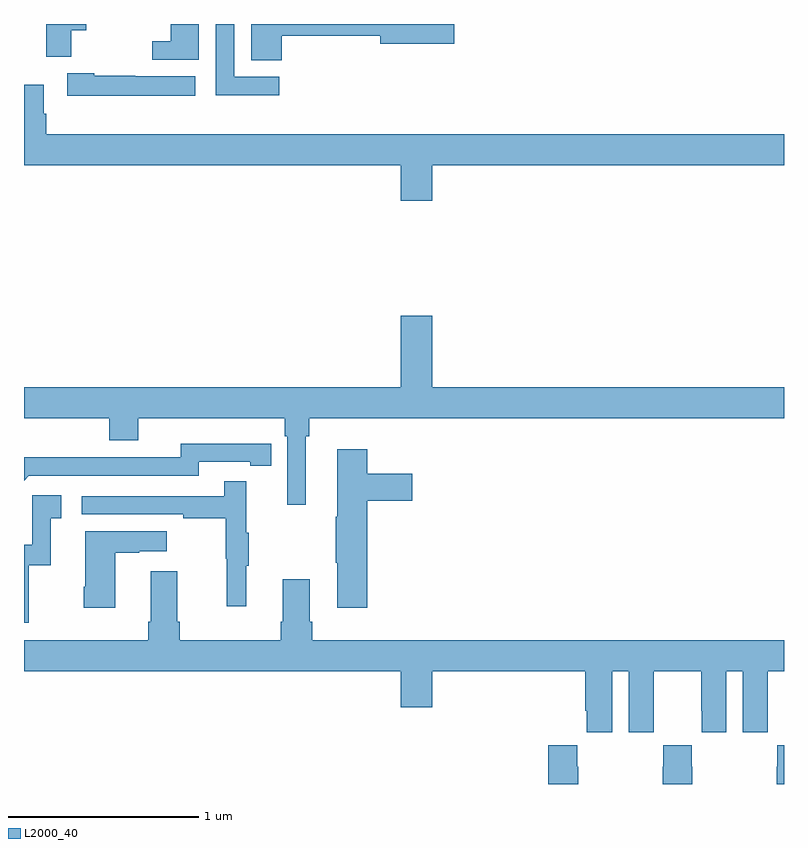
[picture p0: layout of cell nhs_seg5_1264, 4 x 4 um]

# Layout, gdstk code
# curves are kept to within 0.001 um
import gdstk
lib = gdstk.Library(unit=1e-6, precision=1e-09)
def P(c, l, *ps):  # polygons
    for p in ps: c.add(gdstk.Polygon(p, *l))
L2000_40 = (2000, 40)

nhs_seg5_1264 = lib.new_cell('nhs_seg5_1264')
P(nhs_seg5_1264, L2000_40, [(187.921,894.799),(187.772,894.799),(187.772,894.708),(187.674,894.708),(187.674,894.612),(187.921,894.612)],
  [(188.356,894.736),(188.876,894.736),(188.876,894.694),(189.265,894.694),(189.265,894.799),(188.195,894.799),(188.195,894.607),(188.356,894.607)],
  [(187.248,894.767),(187.327,894.767),(187.327,894.799),(187.118,894.799),(187.118,894.626),(187.248,894.626)],
  [(188.344,894.522),(188.106,894.522),(188.106,894.799),(188.01,894.799),(188.01,894.425),(188.344,894.425)],
  [(187.9,894.523),(187.586,894.523),(187.586,894.526),(187.371,894.526),(187.371,894.541),(187.227,894.541),(187.227,894.422),(187.9,894.422)],
  [(187.118,894.326),(187.105,894.326),(187.105,894.478),(187,894.478),(187,894.056),(188.984,894.056),(188.984,893.868),(189.148,893.868),(189.148,894.056),(191,894.056),(191,894.22),(187.118,894.22)],
  [(188.984,893.263),(188.984,892.888),(187,892.888),(187,892.724),(187.448,892.724),(187.448,892.607),(187.6,892.607),(187.6,892.724),(188.372,892.724),(188.372,892.628),(188.385,892.628),(188.385,892.269),(188.482,892.269),(188.482,892.628),(188.501,892.628),(188.501,892.724),(191,892.724),(191,892.888),(189.148,892.888),(189.148,893.263)],
  [(187.026,892.422),(187.92,892.422),(187.92,892.494),(188.192,892.494),(188.192,892.474),(188.3,892.474),(188.3,892.59),(187.824,892.591),(187.824,892.518),(187.364,892.518),(187.364,892.52),(187,892.52),(187,892.396)],
  [(188.807,892.289),(189.043,892.289),(189.043,892.431),(188.807,892.431),(188.807,892.561),(188.648,892.561),(188.648,892.205),(188.641,892.205),(188.641,891.964),(188.648,891.964),(188.648,891.726),(188.807,891.726)],
  [(188.171,891.947),(188.182,891.947),(188.182,892.121),(188.171,892.121),(188.171,892.393),(188.053,892.393),(188.053,892.314),(187.305,892.314),(187.305,892.218),(187.837,892.218),(187.837,892.198),(188.061,892.198),(188.061,891.984),(188.068,891.984),(188.068,891.735),(188.171,891.735)],
  [(187.024,891.951),(187.142,891.951),(187.142,892.197),(187.195,892.197),(187.195,892.318),(187.044,892.318),(187.044,892.059),(187,892.059),(187,891.648),(187.024,891.648)],
  [(187.48,892.015),(187.607,892.015),(187.607,892.025),(187.75,892.025),(187.75,892.129),(187.322,892.129),(187.322,891.838),(187.315,891.838),(187.315,891.726),(187.48,891.726)],
  [(190.096,891.392),(190.184,891.392),(190.184,891.072),(190.314,891.072),(190.314,891.184),(190.315,891.184),(190.315,891.392),(190.565,891.392),(190.565,891.184),(190.566,891.184),(190.566,891.072),(190.696,891.072),(190.696,891.392),(190.784,891.392),(190.784,891.072),(190.914,891.072),(190.914,891.184),(190.915,891.184),(190.915,891.392),(191,891.392),(191,891.556),(188.516,891.556),(188.516,891.652),(188.503,891.652),(188.503,891.877),(188.363,891.877),(188.363,891.652),(188.351,891.652),(188.351,891.556),(187.82,891.556),(187.82,891.652),(187.807,891.652),(187.807,891.919),(187.667,891.919),(187.667,891.652),(187.655,891.652),(187.655,891.556),(187,891.556),(187,891.392),(188.984,891.392),(188.984,891.204),(189.148,891.204),(189.148,891.392),(189.953,891.392),(189.953,891.184),(189.962,891.184),(189.962,891.072),(190.096,891.072)],
  [(189.918,890.891),(189.911,890.891),(189.911,891.004),(189.758,891.004),(189.758,890.799),(189.918,890.799)],
  [(190.518,890.891),(190.515,890.891),(190.515,891.004),(190.365,891.004),(190.365,890.891),(190.363,890.891),(190.363,890.799),(190.518,890.799)],
  [(191,891.004),(190.965,891.004),(190.965,890.891),(190.963,890.891),(190.963,890.799),(191,890.799)])

lib.write_gds('nhs_seg5_1264.gds')
